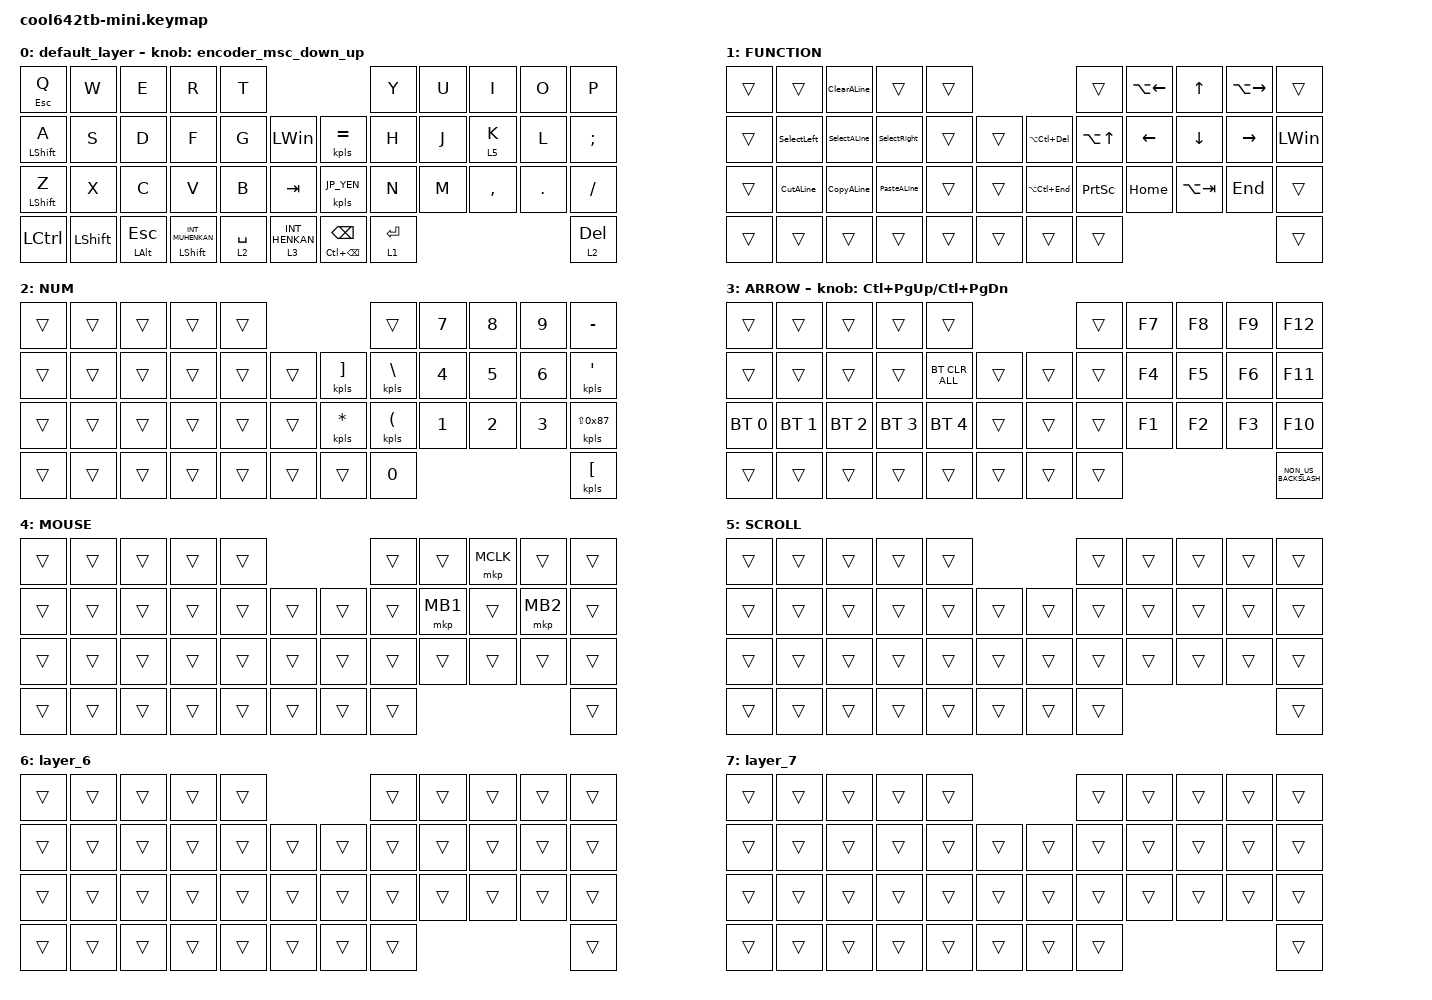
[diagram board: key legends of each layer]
#include <layout_shift.dtsi> // JIS配列対応
#include <behaviors.dtsi>
#include <dt-bindings/zmk/bt.h>
#include <dt-bindings/zmk/keys.h>
#include <dt-bindings/zmk/pointing.h>

#define MOUSE 4
#define SCROLL 5
#define NUM 6
#define ZMK_POINTING_DEFAULT_SCRL_VAL 80

// OS設定を日本語キーボードのまま使用するための変換定義

#define JP_DQUOTE       AT                // "
#define JP_AMPERSAND    CARET             // &
#define JP_QUOTE        AMPERSAND         // '
#define JP_EQUAL        UNDER             // =
#define JP_CARET        EQUAL             // ^
#define JP_YEN          0x89              // ¥
#define JP_PLUS         COLON             // +
#define JP_TILDE        PLUS              // ~
#define JP_PIPE         LS(0x89)          // |
#define JP_AT           LEFT_BRACKET      // @
#define JP_COLON        SINGLE_QUOTE      // :
#define JP_ASTERISK     DOUBLE_QUOTES     // *
#define JP_BACKQUOTE    LEFT_BRACE        // `
#define JP_UNDERSCORE   LS(0x87)          // _
#define JP_LBRACKET     RIGHT_BRACKET     // [
#define JP_RBRACKET     BACKSLASH         // ]
#define JP_LPAREN       ASTERISK          // (
#define JP_RPAREN       LEFT_PARENTHESIS  // )
#define JP_LBRACE       RIGHT_BRACE       // {
#define JP_RBRACE       PIPE              // }
#define JP_KANA         LANGUAGE_1        // かな
#define JP_EISU         LANGUAGE_2        // 英数
#define JP_HANZEN       GRAVE             // 半角/全角

&mt {
    flavor = "balanced";
    quick-tap-ms = <0>;
};

/ {
    combos {
        compatible = "zmk,combos";

        Tab {
            bindings = <&kp TAB>;
            key-positions = <39 27>;
        };

        Delete {
            bindings = <&kp DEL>;
            key-positions = <28 40>;
        };
    };

    behaviors {
        encoder_msc_down_up: encoder_msc_down_up {
            compatible = "zmk,behavior-sensor-rotate";
            label = "ENCODER_MSC_DOWN_UP";
            #sensor-binding-cells = <0>;
            bindings = <&msc SCRL_UP>, <&msc SCRL_DOWN>;

            tap-ms = <20>;
        };
    };

    macros {
        SelectALine: SelectALine {
            compatible = "zmk,behavior-macro";
            #binding-cells = <0>;
            bindings = <&kp HOME &kp LS(END)>;
            label = "SELECTALINE";
        };

        CopyALine: CopyALine {
            compatible = "zmk,behavior-macro";
            #binding-cells = <0>;
            bindings = <&kp HOME &kp LS(END) &kp LC(C) &kp RIGHT>;
            label = "COPYALINE";
        };

        PasteALine: PasteALine {
            compatible = "zmk,behavior-macro";
            #binding-cells = <0>;
            bindings = <&kp HOME &kp LS(END) &kp LC(V) &kp RIGHT>;
            label = "PASTEALINE";
        };

        CutALine: CutALine {
            compatible = "zmk,behavior-macro";
            #binding-cells = <0>;
            bindings = <&kp HOME &kp LS(END) &kp LC(X)>;
            label = "CUTALINE";
        };

        ClearALine: ClearALine {
            compatible = "zmk,behavior-macro";
            #binding-cells = <0>;
            bindings = <&kp HOME &kp LS(END) &kp BACKSPACE>;
            label = "CLEARALINE";
        };

        SelectRight: SelectRight {
            compatible = "zmk,behavior-macro";
            #binding-cells = <0>;
            bindings = <&kp LS(END)>;
            label = "SELECTRIGHT";
        };

        SelectLeft: new_macro {
            compatible = "zmk,behavior-macro";
            #binding-cells = <0>;
            bindings = <&kp LS(HOME)>;
            label = "NEW_MACRO";
        };
    };

    keymap {
        compatible = "zmk,keymap";

        default_layer {
            bindings = <
&mt ESCAPE Q      &kp W           &kp E                &kp R                        &kp T                                                           &kp Y        &kp U  &kp I      &kp O    &kp P
&mt LEFT_SHIFT A  &kp S           &kp D                &kp F                        &kp G        &kp LEFT_WIN          &kpls JP_CARET               &kp H        &kp J  &lt 5 K    &kp L    &kp SEMICOLON
&mt LEFT_SHIFT Z  &kp X           &kp C                &kp V                        &kp B        &kp TAB               &kpls JP_YEN                 &kp N        &kp M  &kp COMMA  &kp DOT  &kp SLASH
&kp LCTRL         &kp LEFT_SHIFT  &mt LEFT_ALT ESCAPE  &mt LEFT_SHIFT INT_MUHENKAN  &lt 2 SPACE  &lt 3 INT_HENKAN      &mt LC(BACKSPACE) BACKSPACE  &lt 1 ENTER                             &lt 2 DEL
            >;

            sensor-bindings = <&encoder_msc_down_up>;
        };

        FUNCTION {
            bindings = <
&trans  &trans       &ClearALine   &trans        &trans                               &trans            &kp LA(LEFT)  &kp UP_ARROW  &kp LA(RIGHT)  &trans
&trans  &SelectLeft  &SelectALine  &SelectRight  &trans  &trans      &kp LA(LC(DEL))  &kp LA(UP_ARROW)  &kp LEFT      &kp DOWN      &kp RIGHT      &kp LEFT_WIN
&trans  &CutALine    &CopyALine    &PasteALine   &trans  &trans      &kp LA(LC(END))  &kp PRINTSCREEN   &kp HOME      &kp LA(TAB)   &kp END        &trans
&trans  &trans       &trans        &trans        &trans  &trans      &trans           &trans                                                       &trans
            >;
        };

        NUM {
            bindings = <
&trans  &trans  &trans  &trans  &trans                                 &trans             &kp NUMBER_7  &kp NUMBER_8  &kp NUMBER_9  &kp MINUS
&trans  &trans  &trans  &trans  &trans  &trans      &kpls JP_LBRACKET  &kpls JP_RBRACKET  &kp NUMBER_4  &kp NUMBER_5  &kp NUMBER_6  &kpls JP_COLON
&trans  &trans  &trans  &trans  &trans  &trans      &kpls JP_LPAREN    &kpls JP_RPAREN    &kp NUMBER_1  &kp NUMBER_2  &kp NUMBER_3  &kpls JP_UNDERSCORE
&trans  &trans  &trans  &trans  &trans  &trans      &trans             &kp NUMBER_0                                                 &kpls JP_AT
            >;
        };

        ARROW {
            bindings = <
&trans        &trans        &trans        &trans        &trans                              &trans  &kp F7  &kp F8  &kp F9  &kp F12
&trans        &trans        &trans        &trans        &bt BT_CLR_ALL  &trans      &trans  &trans  &kp F4  &kp F5  &kp F6  &kp F11
&bt BT_SEL 0  &bt BT_SEL 1  &bt BT_SEL 2  &bt BT_SEL 3  &bt BT_SEL 4    &trans      &trans  &trans  &kp F1  &kp F2  &kp F3  &kp F10
&trans        &trans        &trans        &trans        &trans          &trans      &trans  &trans                          &kp NON_US_BACKSLASH
            >;

            sensor-bindings = <&inc_dec_kp LC(PAGE_UP) LC(PAGE_DOWN)>;
        };

        MOUSE {
            bindings = <
&trans  &trans  &trans  &trans  &trans                      &trans  &trans    &mkp MCLK  &trans    &trans
&trans  &trans  &trans  &trans  &trans  &trans      &trans  &trans  &mkp MB1  &trans     &mkp MB2  &trans
&trans  &trans  &trans  &trans  &trans  &trans      &trans  &trans  &trans    &trans     &trans    &trans
&trans  &trans  &trans  &trans  &trans  &trans      &trans  &trans                                 &trans
            >;
        };

        SCROLL {
            bindings = <
&trans  &trans  &trans  &trans  &trans                      &trans  &trans  &trans  &trans  &trans
&trans  &trans  &trans  &trans  &trans  &trans      &trans  &trans  &trans  &trans  &trans  &trans
&trans  &trans  &trans  &trans  &trans  &trans      &trans  &trans  &trans  &trans  &trans  &trans
&trans  &trans  &trans  &trans  &trans  &trans      &trans  &trans                          &trans
            >;
        };

        layer_6 {
            bindings = <
&trans  &trans  &trans  &trans  &trans                      &trans  &trans  &trans  &trans  &trans
&trans  &trans  &trans  &trans  &trans  &trans      &trans  &trans  &trans  &trans  &trans  &trans
&trans  &trans  &trans  &trans  &trans  &trans      &trans  &trans  &trans  &trans  &trans  &trans
&trans  &trans  &trans  &trans  &trans  &trans      &trans  &trans                          &trans
            >;
        };

        layer_7 {
            bindings = <
&trans  &trans  &trans  &trans  &trans                      &trans  &trans  &trans  &trans  &trans
&trans  &trans  &trans  &trans  &trans  &trans      &trans  &trans  &trans  &trans  &trans  &trans
&trans  &trans  &trans  &trans  &trans  &trans      &trans  &trans  &trans  &trans  &trans  &trans
&trans  &trans  &trans  &trans  &trans  &trans      &trans  &trans                          &trans
            >;
        };
    };
};
